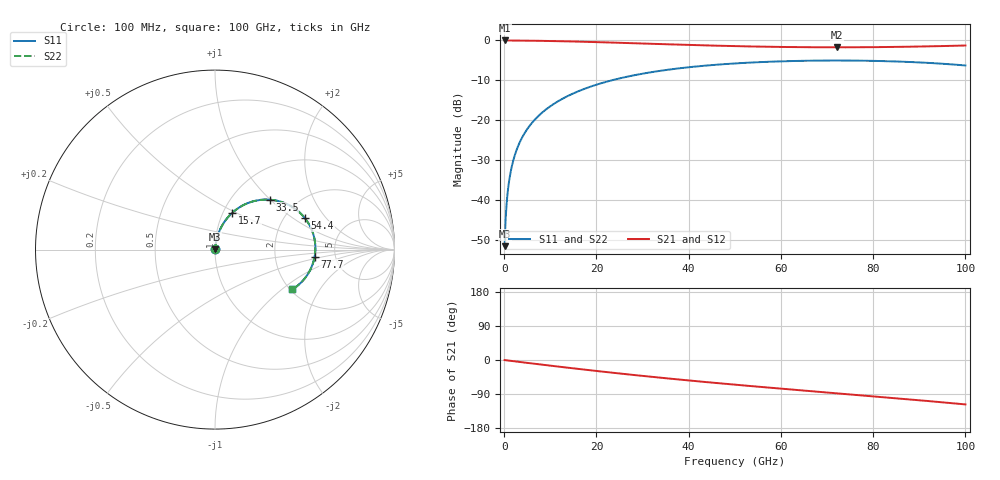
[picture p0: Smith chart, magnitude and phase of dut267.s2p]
! Touchstone file exported from HFSS 2026.1.0
!  File:  C:/ffzhzh/LocalFiles/Ansys_Project_Files/temp_train_RDL_267_1783501774_41296.aedt
!  Generated:  05:10:55 PM Jul  8, 2026
!  Design:  RDL
!  Project:  temp_train_RDL_267_1783501774_41296
! Variables:
!  h_bsmrdl = 2um
!  h_ox = 20um
!  h_rdl = 5um
!  h_sub = 80um
!  h_tmrdl = 4.26um
!  h_tsv = 80um
!  h_via = 3um
!  l_bsmrdl = 300um
!  l_sub = 803.73um
!  l_tmrdl = 403.73um
!  m_sub = 200um
!  pitch = 43.11um
!  r_tsv = 6um
!  s_tmrdl = 10um
!  w_bsmrdl = 18um
!  w_sub = 500um
!  w_tmrdl = 18.04um
!  x_tsv_center1 = 412.75um
!  x_tsv_center2 = 730.75um
!  x_tsv_center3 = 1152.52um
!  x_tsv_center4 = 1470.52um
!  x_tsv_center5 = 1892.29um
!  x_tsv_center6 = 2210.29um
# GHz S MA R 50.000000
! Terminal data exported
! Port[1] = TM_RDL1_1_T1
! Port[2] = TM_RDL1_1_T2
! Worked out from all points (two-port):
!   1000 points, 100 MHz to 100 GHz, reference 50 ohm
!   highest |S21| = -0.02 dB at 100 MHz (marker M1); lowest = -1.7 dB at 72.2 GHz (marker M2)
!   |S21| within 3 dB of the highest: start of sweep to end of sweep
!   lowest |S11| = -51.6 dB at 100 MHz (marker M3), VSWR 1.01, Z = 50.2 + j0.171 ohm
!   |S11| at or under -10 dB: start of sweep to 23.37 GHz
!   |S22| runs from -51.6 to -5.0 dB; largest |S21 - S12| = 1.5e-14
!   S11 on the Smith chart (normalised r, x): 100 MHz: 1.00, +0.00; 15.7 GHz: 1.10, +0.47; 33.5 GHz: 1.48, +0.99; 54.4 GHz: 2.57, +1.25; 77.7 GHz: 3.46, -0.40; 100 GHz: 2.05, -1.19
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0.1  0.002627 40.3  0.998 -0.2  0.998 -0.2  0.002627 40.3
! Gamma 0 0 0 0
! Port Impedance 50 0 50 0
0.4  0.006896 70.4  0.9977 -0.6  0.9977 -0.6  0.006896 70.4
0.8  0.01298 78.0  0.9975 -1.2  0.9975 -1.2  0.01298 78.0
1.1  0.0176 80.1  0.9973 -1.7  0.9973 -1.7  0.0176 80.1
1.4  0.02224 81.1  0.9971 -2.1  0.9971 -2.1  0.02224 81.1
2.4  0.0377 81.8  0.9963 -3.7  0.9963 -3.7  0.0377 81.8
3.8  0.0591 80.7  0.9946 -5.8  0.9946 -5.8  0.0591 80.7
5.8  0.08898 78.2  0.9914 -8.8  0.9914 -8.8  0.08898 78.2
8.4  0.1266 74.8  0.9861 -12.6  0.9861 -12.6  0.1266 74.8
11.7  0.1726 70.3  0.9781 -17.4  0.9781 -17.4  0.1726 70.3
15.7  0.2254 65.0  0.9663 -23.0  0.9663 -23.0  0.2254 65.0
16.8  0.2393 63.5  0.9628 -24.5  0.9628 -24.5  0.2393 63.5
24.2  0.3251 53.8  0.9363 -34.5  0.9363 -34.5  0.3251 53.8
33.4  0.4118 42.5  0.9012 -46.1  0.9012 -46.1  0.4118 42.5
33.5  0.4126 42.4  0.9008 -46.3  0.9008 -46.3  0.4127 42.4
50.1  0.5144 23.8  0.8472 -65.2  0.8472 -65.2  0.5144 23.8
54.4  0.5305 19.3  0.8373 -69.8  0.8373 -69.8  0.5306 19.3
66.7  0.5567 6.9  0.8205 -82.4  0.8205 -82.4  0.5568 6.9
72.2  0.5593 1.4  0.8187 -88.0  0.8187 -88.0  0.5594 1.4
77.7  0.5564 -4.1  0.8205 -93.5  0.8205 -93.5  0.5565 -4.1
83.4  0.5475 -9.8  0.8261 -99.3  0.8261 -99.3  0.5476 -9.8
100  0.4848 -27.2  0.8626 -117.2  0.8626 -117.2  0.4849 -27.3
